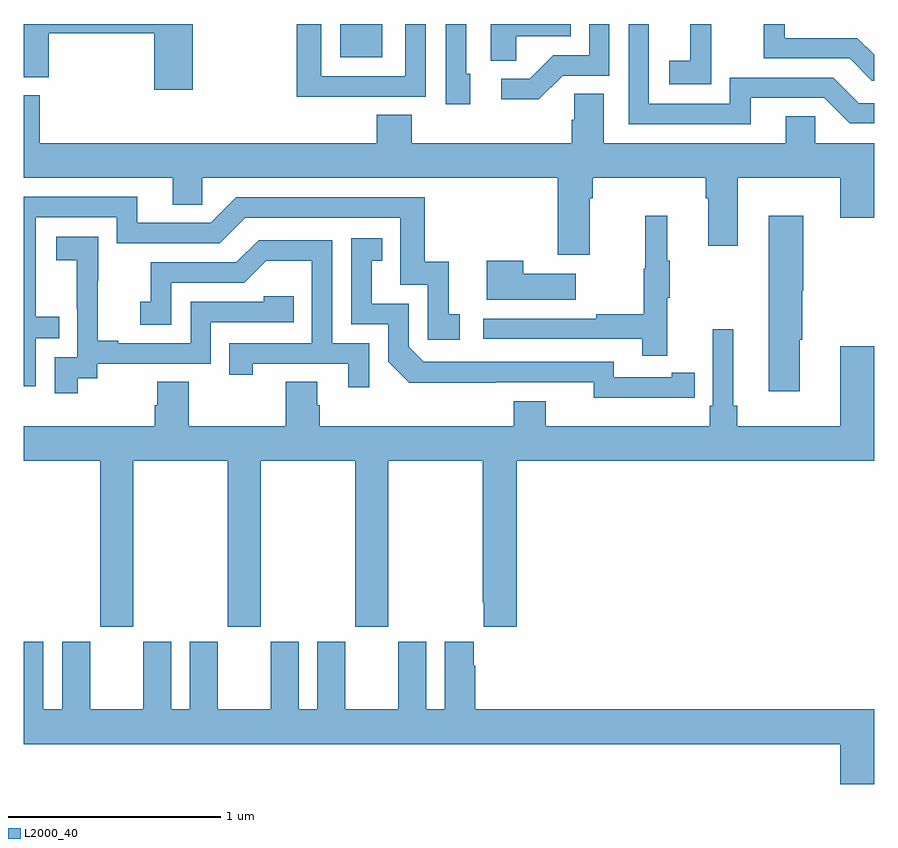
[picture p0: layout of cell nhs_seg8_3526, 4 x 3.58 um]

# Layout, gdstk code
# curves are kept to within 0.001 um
import gdstk
lib = gdstk.Library(unit=1e-6, precision=1e-09)
def R(c, l, rs):  # rectangles x0, y0, x1, y1
    for r in rs: c.add(gdstk.rectangle(r[:2], r[2:], *l))
def P(c, l, *ps):  # polygons
    for p in ps: c.add(gdstk.Polygon(p, *l))
L2000_40 = (2000, 40)

nhs_seg8_3526 = lib.new_cell('nhs_seg8_3526')
R(nhs_seg8_3526, L2000_40, [(330.488,1107.743,330.685,1107.9)])
P(nhs_seg8_3526, L2000_40, [(331.317,1107.842),(331.574,1107.842),(331.574,1107.9),(331.196,1107.9),(331.196,1107.727),(331.317,1107.727)],
  [(330.575,1107.558),(330.891,1107.558),(330.891,1107.9),(330.795,1107.9),(330.795,1107.654),(330.399,1107.654),(330.399,1107.9),(330.283,1107.9),(330.283,1107.557),(330.575,1107.557)],
  [(333,1107.756),(332.922,1107.834),(332.58,1107.834),(332.58,1107.9),(332.482,1107.9),(332.482,1107.738),(332.885,1107.738),(332.99,1107.633),(333,1107.633)],
  [(329.795,1107.9),(329,1107.9),(329,1107.65),(329.117,1107.65),(329.117,1107.856),(329.612,1107.856),(329.612,1107.591),(329.795,1107.591)],
  [(331.099,1107.666),(331.08,1107.666),(331.08,1107.9),(330.984,1107.9),(330.984,1107.522),(331.099,1107.522)],
  [(332.419,1107.552),(332.766,1107.552),(332.886,1107.432),(333,1107.432),(333,1107.528),(332.928,1107.528),(332.808,1107.648),(332.322,1107.648),(332.322,1107.525),(331.941,1107.525),(331.941,1107.9),(331.845,1107.9),(331.845,1107.429),(332.419,1107.429)],
  [(332.235,1107.823),(332.234,1107.823),(332.234,1107.9),(332.135,1107.9),(332.135,1107.727),(332.037,1107.727),(332.037,1107.617),(332.235,1107.617)],
  [(331.536,1107.657),(331.755,1107.657),(331.755,1107.9),(331.659,1107.9),(331.659,1107.753),(331.49,1107.753),(331.379,1107.642),(331.245,1107.642),(331.245,1107.545),(331.423,1107.545)],
  [(331.663,1107.08),(331.676,1107.08),(331.676,1107.176),(332.207,1107.176),(332.207,1107.08),(332.219,1107.08),(332.219,1106.856),(332.359,1106.856),(332.359,1107.176),(332.84,1107.176),(332.84,1106.988),(333,1106.988),(333,1107.34),(332.724,1107.34),(332.724,1107.467),(332.585,1107.467),(332.585,1107.34),(331.729,1107.34),(331.729,1107.572),(331.59,1107.572),(331.59,1107.449),(331.577,1107.449),(331.577,1107.34),(330.824,1107.34),(330.824,1107.473),(330.659,1107.473),(330.659,1107.34),(329.075,1107.34),(329.075,1107.565),(329,1107.565),(329,1107.176),(329.699,1107.176),(329.699,1107.049),(329.838,1107.049),(329.838,1107.176),(331.511,1107.176),(331.511,1106.814),(331.663,1106.814)],
  [(329.055,1106.421),(329.165,1106.421),(329.165,1106.522),(329.055,1106.522),(329.055,1106.991),(329.436,1106.991),(329.436,1106.868),(329.922,1106.868),(330.042,1106.988),(330.771,1106.988),(330.771,1106.673),(330.9,1106.673),(330.9,1106.415),(331.051,1106.415),(331.051,1106.535),(330.998,1106.535),(330.998,1106.782),(330.887,1106.782),(330.887,1107.084),(330,1107.084),(329.88,1106.964),(329.533,1106.964),(329.533,1107.087),(329,1107.087),(329,1106.196),(329.055,1106.196)],
  [(332.65,1106.415),(332.663,1106.415),(332.663,1106.646),(332.668,1106.646),(332.668,1106.998),(332.504,1106.998),(332.504,1106.172),(332.65,1106.172)],
  [(332.027,1106.611),(332.038,1106.611),(332.038,1106.785),(332.027,1106.785),(332.027,1106.998),(331.924,1106.998),(331.924,1106.748),(331.917,1106.748),(331.917,1106.534),(331.693,1106.534),(331.693,1106.514),(331.161,1106.514),(331.161,1106.418),(331.909,1106.418),(331.909,1106.34),(332.027,1106.34)],
  [(329.254,1106.233),(329.346,1106.233),(329.346,1106.301),(329.88,1106.301),(329.88,1106.496),(330.269,1106.496),(330.269,1106.619),(330.129,1106.619),(330.129,1106.592),(329.784,1106.592),(329.784,1106.397),(329.443,1106.397),(329.443,1106.41),(329.348,1106.41),(329.348,1106.693),(329.349,1106.693),(329.349,1106.899),(329.151,1106.899),(329.151,1106.789),(329.249,1106.789),(329.249,1106.561),(329.25,1106.561),(329.25,1106.331),(329.145,1106.331),(329.145,1106.163),(329.254,1106.163)],
  [(332.048,1106.142),(332.156,1106.142),(332.156,1106.258),(332.048,1106.258),(332.048,1106.238),(331.776,1106.238),(331.776,1106.31),(330.882,1106.31),(330.81,1106.382),(330.81,1106.583),(330.637,1106.583),(330.637,1106.787),(330.686,1106.787),(330.686,1106.893),(330.54,1106.893),(330.54,1106.487),(330.714,1106.487),(330.714,1106.31),(330.812,1106.213),(331.68,1106.214),(331.68,1106.141)],
  [(330.624,1106.397),(330.45,1106.397),(330.45,1106.883),(330.104,1106.883),(329.999,1106.778),(329.596,1106.778),(329.596,1106.593),(329.547,1106.593),(329.547,1106.484),(329.694,1106.484),(329.694,1106.682),(330.036,1106.682),(330.14,1106.786),(330.354,1106.786),(330.354,1106.397),(329.965,1106.397),(329.965,1106.25),(330.076,1106.25),(330.076,1106.301),(330.527,1106.301),(330.527,1106.19),(330.624,1106.19)],
  [(331.597,1106.725),(331.349,1106.725),(331.349,1106.785),(331.178,1106.785),(331.178,1106.603),(331.597,1106.603)],
  [(329.514,1105.844),(329.959,1105.844),(329.959,1105.065),(330.114,1105.065),(330.114,1105.844),(330.559,1105.844),(330.559,1105.065),(330.714,1105.065),(330.714,1105.844),(331.159,1105.844),(331.159,1105.177),(331.163,1105.177),(331.163,1105.065),(331.319,1105.065),(331.319,1105.844),(333,1105.844),(333,1106.383),(332.84,1106.383),(332.84,1106.008),(332.357,1106.008),(332.357,1106.104),(332.338,1106.104),(332.338,1106.464),(332.241,1106.464),(332.241,1106.104),(332.228,1106.104),(332.228,1106.008),(331.456,1106.008),(331.456,1106.125),(331.304,1106.125),(331.304,1106.008),(330.392,1106.008),(330.392,1106.106),(330.379,1106.106),(330.379,1106.216),(330.232,1106.216),(330.232,1106.008),(329.775,1106.008),(329.775,1106.216),(329.627,1106.216),(329.627,1106.106),(329.615,1106.106),(329.615,1106.008),(329,1106.008),(329,1105.844),(329.359,1105.844),(329.359,1105.065),(329.514,1105.065)],
  [(333,1104.676),(331.124,1104.676),(331.124,1104.881),(331.117,1104.881),(331.117,1104.994),(330.98,1104.994),(330.98,1104.676),(330.892,1104.676),(330.892,1104.994),(330.761,1104.994),(330.761,1104.676),(330.511,1104.676),(330.511,1104.994),(330.38,1104.994),(330.38,1104.676),(330.292,1104.676),(330.292,1104.994),(330.161,1104.994),(330.161,1104.676),(329.911,1104.676),(329.911,1104.994),(329.78,1104.994),(329.78,1104.676),(329.692,1104.676),(329.692,1104.994),(329.561,1104.994),(329.561,1104.676),(329.311,1104.676),(329.311,1104.994),(329.18,1104.994),(329.18,1104.676),(329.092,1104.676),(329.092,1104.994),(329,1104.994),(329,1104.512),(332.84,1104.512),(332.84,1104.324),(333,1104.324)])

lib.write_gds('nhs_seg8_3526.gds')
